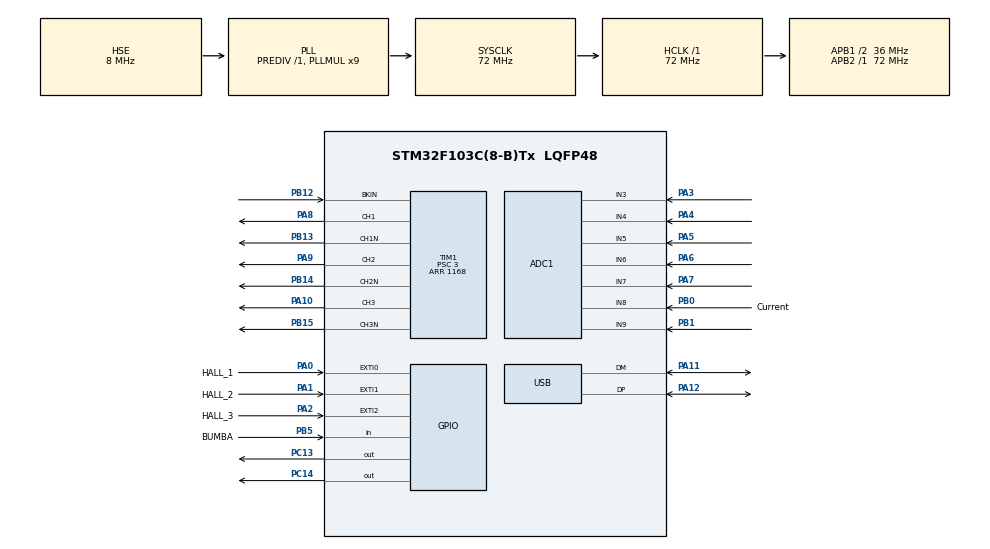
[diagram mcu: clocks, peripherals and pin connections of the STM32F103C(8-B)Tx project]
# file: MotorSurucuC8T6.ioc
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ADC1.Channel-0\#ChannelRegularConversion=ADC_CHANNEL_5
ADC1.Channel-1\#ChannelRegularConversion=ADC_CHANNEL_8
ADC1.Channel-2\#ChannelRegularConversion=ADC_CHANNEL_4
ADC1.Channel-3\#ChannelRegularConversion=ADC_CHANNEL_6
ADC1.Channel-4\#ChannelRegularConversion=ADC_CHANNEL_7
ADC1.Channel-5\#ChannelRegularConversion=ADC_CHANNEL_9
ADC1.Channel-6\#ChannelRegularConversion=ADC_CHANNEL_3
ADC1.ContinuousConvMode=ENABLE
ADC1.NbrOfConversion=7
ADC1.NbrOfConversionFlag=1
ADC1.Rank-0\#ChannelRegularConversion=1
ADC1.Rank-1\#ChannelRegularConversion=2
ADC1.Rank-2\#ChannelRegularConversion=3
ADC1.Rank-3\#ChannelRegularConversion=4
ADC1.Rank-4\#ChannelRegularConversion=5
ADC1.Rank-5\#ChannelRegularConversion=6
ADC1.Rank-6\#ChannelRegularConversion=7
ADC1.SamplingTime-0\#ChannelRegularConversion=ADC_SAMPLETIME_55CYCLES_5
ADC1.SamplingTime-1\#ChannelRegularConversion=ADC_SAMPLETIME_55CYCLES_5
ADC1.SamplingTime-2\#ChannelRegularConversion=ADC_SAMPLETIME_55CYCLES_5
ADC1.SamplingTime-3\#ChannelRegularConversion=ADC_SAMPLETIME_55CYCLES_5
ADC1.SamplingTime-4\#ChannelRegularConversion=ADC_SAMPLETIME_55CYCLES_5
ADC1.SamplingTime-5\#ChannelRegularConversion=ADC_SAMPLETIME_55CYCLES_5
ADC1.SamplingTime-6\#ChannelRegularConversion=ADC_SAMPLETIME_55CYCLES_5
ADC1.master=1
Dma.ADC1.0.Direction=DMA_PERIPH_TO_MEMORY
Dma.ADC1.0.Instance=DMA1_Channel1
Dma.ADC1.0.MemDataAlignment=DMA_MDATAALIGN_WORD
Dma.ADC1.0.MemInc=DMA_MINC_ENABLE
Dma.ADC1.0.Mode=DMA_CIRCULAR
Dma.ADC1.0.PeriphDataAlignment=DMA_PDATAALIGN_WORD
Dma.ADC1.0.PeriphInc=DMA_PINC_DISABLE
Dma.ADC1.0.Priority=DMA_PRIORITY_LOW
Dma.Request0=ADC1
Mcu.Family=STM32F1
Mcu.Name=STM32F103C(8-B)Tx
Mcu.Package=LQFP48
NVIC.DMA1_Channel1_IRQn=true\:0\:0\:false\:false\:true\:false\:true\:true
NVIC.EXTI0_IRQn=true\:3\:0\:true\:false\:true\:true\:true\:true
NVIC.EXTI1_IRQn=true\:3\:0\:true\:false\:true\:true\:true\:true
NVIC.EXTI2_IRQn=true\:3\:0\:true\:false\:true\:true\:true\:true
NVIC.PriorityGroup=NVIC_PRIORITYGROUP_4
NVIC.TIM2_IRQn=true\:0\:0\:false\:false\:true\:true\:true\:true
NVIC.TIM3_IRQn=true\:0\:0\:false\:false\:true\:true\:true\:true
NVIC.TIM4_IRQn=true\:0\:0\:false\:false\:true\:true\:true\:true
NVIC.USB_LP_CAN1_RX0_IRQn=true\:0\:0\:false\:false\:true\:false\:true\:true
PA0-WKUP.GPIO_Label=HALL_1
PA0-WKUP.GPIO_ModeDefaultEXTI=GPIO_MODE_IT_RISING_FALLING
PA0-WKUP.Signal=GPXTI0
PA1.GPIO_Label=HALL_2
PA1.GPIO_ModeDefaultEXTI=GPIO_MODE_IT_RISING_FALLING
PA1.Signal=GPXTI1
PA10.Signal=S_TIM1_CH3
PA11.Mode=Device
PA11.Signal=USB_DM
PA12.Mode=Device
PA12.Signal=USB_DP
PA13.Mode=Serial_Wire
PA13.Signal=SYS_JTMS-SWDIO
PA14.Mode=Serial_Wire
PA14.Signal=SYS_JTCK-SWCLK
PA2.GPIO_Label=HALL_3
PA2.GPIO_ModeDefaultEXTI=GPIO_MODE_IT_RISING_FALLING
PA2.Signal=GPXTI2
PA3.Signal=ADCx_IN3
PA4.Signal=ADCx_IN4
PA5.Signal=ADCx_IN5
PA6.Signal=ADCx_IN6
PA7.Signal=ADCx_IN7
PA8.Signal=S_TIM1_CH1
PA9.Signal=S_TIM1_CH2
PB0.GPIO_Label=Current
PB0.Signal=ADCx_IN8
PB1.Signal=ADCx_IN9
PB12.Mode=Activate-Break-Input
PB12.Signal=TIM1_BKIN
PB13.Mode=PWM Generation1 CH1 CH1N
PB13.Signal=TIM1_CH1N
PB14.Mode=PWM Generation2 CH2 CH2N
PB14.Signal=TIM1_CH2N
PB15.Mode=PWM Generation3 CH3 CH3N
PB15.Signal=TIM1_CH3N
PB5.GPIO_Label=BUMBA
PB5.Signal=GPIO_Input
PC13-TAMPER-RTC.Signal=GPIO_Output
PC14-OSC32_IN.Signal=GPIO_Output
PD0-OSC_IN.Mode=HSE-External-Oscillator
PD0-OSC_IN.Signal=RCC_OSC_IN
PD1-OSC_OUT.Mode=HSE-External-Oscillator
PD1-OSC_OUT.Signal=RCC_OSC_OUT
ProjectManager.HeapSize=0x200
ProjectManager.StackSize=0x400
ProjectManager.TargetToolchain=Makefile
RCC.ADCPresc=RCC_ADCPCLK2_DIV6
RCC.AHBFreq_Value=72000000
RCC.APB1CLKDivider=RCC_HCLK_DIV2
RCC.APB1Freq_Value=36000000
RCC.APB1TimFreq_Value=72000000
RCC.APB2Freq_Value=72000000
RCC.APB2TimFreq_Value=72000000
RCC.HCLKFreq_Value=72000000
RCC.PLLMUL=RCC_PLL_MUL9
RCC.PLLSourceVirtual=RCC_PLLSOURCE_HSE
RCC.SYSCLKFreq_VALUE=72000000
RCC.SYSCLKSource=RCC_SYSCLKSOURCE_PLLCLK
RCC.USBFreq_Value=48000000
RCC.USBPrescaler=RCC_USBCLKSOURCE_PLL_DIV1_5
SH.ADCx_IN3.0=ADC1_IN3,IN3
SH.ADCx_IN4.0=ADC1_IN4,IN4
SH.ADCx_IN5.0=ADC1_IN5,IN5
SH.ADCx_IN6.0=ADC1_IN6,IN6
SH.ADCx_IN7.0=ADC1_IN7,IN7
SH.ADCx_IN8.0=ADC1_IN8,IN8
SH.ADCx_IN9.0=ADC1_IN9,IN9
SH.S_TIM1_CH1.0=TIM1_CH1,PWM Generation1 CH1 CH1N
SH.S_TIM1_CH2.0=TIM1_CH2,PWM Generation2 CH2 CH2N
SH.S_TIM1_CH3.0=TIM1_CH3,PWM Generation3 CH3 CH3N
TIM1.BreakState=TIM_BREAK_ENABLE
TIM1.Channel-PWM\ Generation1\ CH1\ CH1N=TIM_CHANNEL_1
TIM1.Channel-PWM\ Generation2\ CH2\ CH2N=TIM_CHANNEL_2
TIM1.Channel-PWM\ Generation3\ CH3\ CH3N=TIM_CHANNEL_3
TIM1.DeadTime=60
TIM1.Period=1168
TIM1.Prescaler=3
TIM2.Period=5000
TIM2.Prescaler=719
TIM3.AutoReloadPreload=TIM_AUTORELOAD_PRELOAD_ENABLE
TIM3.Period=250
TIM3.Prescaler=359
TIM4.Period=19999
TIM4.Prescaler=359
USB_DEVICE.CLASS_NAME_FS=CDC
USB_DEVICE.MANUFACTURER_STRING=Zeugma
USB_DEVICE.PRODUCT_STRING_CDC_FS=Motor Surucu
USB_DEVICE.USBD_SELF_POWERED=0
USB_DEVICE.VirtualMode=Cdc
USB_DEVICE.VirtualModeFS=Cdc_FS
VP_TIM1_VS_ClockSourceINT.Mode=Internal
VP_TIM2_VS_ClockSourceINT.Mode=Internal
VP_TIM3_VS_ClockSourceINT.Mode=Internal
VP_TIM4_VS_ClockSourceINT.Mode=Internal
VP_USB_DEVICE_VS_USB_DEVICE_CDC_FS.Mode=CDC_FS
board=custom

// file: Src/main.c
/* USER CODE BEGIN Header */
/**
 **************************
 * @file           : main.c
 * @brief          : Main program body
 **************************
 * @attention
 *
 * Copyright (c) 2024 STMicroelectronics.
 * All rights reserved.
 *
 * This software is licensed under terms that can be found in the LICENSE file
 * in the root directory of this software component.
 * If no LICENSE file comes with this software, it is provided AS-IS.
 *
 **************************
 */
/* USER CODE END Header */
#include "main.h"
#include "adc.h"
#include "dma.h"
#include "tim.h"
#include "usb_device.h"
#include "gpio.h"

/* USER CODE BEGIN Includes */
#include "stdbool.h"
#include "debug_monitor.h"
#include "first_step.h"
#include "rpm.h"
#include "steps.h"
#include "old_value_hall.h"
#include "bemf.h"

/* USER CODE END Includes */

/* USER CODE BEGIN PD */
#define voltageConversion_value 0.0396593777777778
#define currentConversionValue 0.00083008

#define ALPHA_SHIFT 4            // α = 1 / 2^ALPHA_SHIFT (örn: 3 → α = 1/8)
#define ALPHA (1 << ALPHA_SHIFT) // 2^ALPHA_SHIFT
/* USER CODE END PD */

void SystemClock_Config(void);

/* USER CODE BEGIN 0 */

volatile bool oldValue[3] = {0, 0, 0};
bool mode = 1;
volatile bool first_step_flag = 1;
volatile bool flagg = 1;
uint32_t adcBuffer[7] = {0};
volatile uint16_t speedInAdc = 0;
volatile uint16_t currentValue = 0;
volatile uint16_t filtered_current = 0;
bool run_status = false;
volatile bool hall_A = 0, hall_B = 0, hall_C = 0;
bool geri_vites = true;
volatile uint32_t step = 0;
volatile uint32_t pwm_value = 0;
volatile uint32_t pwm_value2 = 0;

uint32_t pedal_value_mapped = 0;
uint16_t min_pwm_limit = 130;
volatile uint16_t firstStepDelay = 200;
volatile uint32_t previousTime2 = 0;
volatile uint8_t oncekiDegerler[3];
uint32_t timeForRotorStopStatusMs = 0;
uint32_t timeForRotorStopStatusMsFlag = 0;

volatile uint32_t rpm_counter = 0;
volatile uint32_t rpm;
volatile uint16_t difference_two_coummutation_time = 1;
volatile uint16_t difference_two_coummutation_time_filtered = 1;

uint32_t previousTime3 = 0;

uint16_t minCurrent = 5000;
uint16_t maxCurrent = 0;
uint16_t temporary_current_value = 0;
uint16_t average = 0;
uint32_t tim3sayi = 0;
uint32_t new_ARR = 0;
uint8_t isStoppedTimers = 0;
volatile uint16_t saved_pwm_rpm[30] = {0};

uint32_t interval_of_runstatus = 0;

volatile uint32_t phase_A;
volatile uint32_t phase_B;
volatile uint32_t phase_C;

uint16_t target_rpm = 0;
uint16_t max_rpm_limit = 2000;
uint16_t max_current_limit = 2100;
uint16_t max_pwm_limit = 800; // Max value: 1168!!!

uint8_t flag12 = 0;
uint16_t battery_voltage = 0;
volatile uint16_t motor_voltage = 0;

uint32_t previousTime4 = 0;

uint16_t analyze_data_1[480] = {0};
uint16_t array_counter;

uint16_t rpm_analysis[1024] = {0};

uint16_t interval_of_steps[1024] = {0};

uint8_t step_atlandi = 0; // unused
uint16_t rpm_max_limit_flag = 1;
uint8_t backEMF_mode = 0;

uint8_t polarity_A = 0;
uint8_t polarity_B = 0;
uint8_t polarity_C = 0;

uint8_t polarity_A_old = 0;
uint8_t polarity_B_old = 0;
uint8_t polarity_C_old = 0;

uint16_t intersection_interval = 0;

uint16_t notr = 0;
uint8_t bemf_execute_flag = 1;

// VARIABLE END

long map(long x, long in_min, long in_max, long out_min, long out_max)
{
  return (x - in_min) * (out_max - out_min) / (in_max - in_min) + out_min;
}

// void HAL_TIM_PeriodElapsedCallback(TIM_HandleTypeDef *htim)
// {
//   rpm = rpm_counter * 25;
//   rpm_counter = 0;
// }

// GPIO INTERRUPT HAS BEEN REMOVED FROM HERE

uint16_t ema_filter0(uint16_t new_value)
{
  static uint16_t filtered_value0 = 0;

  if (filtered_value0 == 0)
    filtered_value0 = new_value;

  filtered_value0 = filtered_value0 + ((new_value - filtered_value0) >> ALPHA_SHIFT);

  return filtered_value0;
}

uint16_t ema_filter1(uint16_t new_value)
{
  static uint16_t filtered_value1 = 0;

  if (filtered_value1 == 0)
    filtered_value1 = new_value;

  filtered_value1 = filtered_value1 + ((new_value - filtered_value1) >> ALPHA_SHIFT);

  return filtered_value1;
}

uint16_t ema_filter2(uint16_t new_value)
{
  static uint16_t filtered_value2 = 0;

  if (filtered_value2 == 0)
    filtered_value2 = new_value;

  filtered_value2 = filtered_value2 + ((new_value - filtered_value2) >> ALPHA_SHIFT);

  return filtered_value2;
}

uint16_t ema_filter3(uint16_t new_value)
{
  static uint16_t filtered_value3 = 0;

  if (filtered_value3 == 0)
    filtered_value3 = new_value;

  filtered_value3 = filtered_value3 + ((new_value - filtered_value3) >> ALPHA_SHIFT);

  return filtered_value3;
}

uint16_t dizi[120] = {0};
uint16_t dizi_index = 0;
// Gecici olarak devre dışı
uint16_t filtreye_koy(uint16_t num)
{
  uint16_t toplam = 0;
  uint16_t average = 0;

  dizi[dizi_index++] = num;

  if (dizi_index == 120)
    dizi_index = 0;

  for (uint8_t i = 0; i < 120; i++)
  {
    toplam += dizi[i];
  }

  if (toplam > 120)
    average = toplam / 120;
  else
    return 0;

  return average;
}

void HAL_ADC_ConvCpltCallback(ADC_HandleTypeDef *hadc)
{ // ADC DMA LEMLERİ
  if (hadc->Instance == ADC1)
  {

    battery_voltage = adcBuffer[5] * 0.03843902;
    if ((GPIOA->IDR & GPIO_PIN_8) + (GPIOA->IDR & GPIO_PIN_9) + (GPIOA->IDR & GPIO_PIN_10) == 0)
    {
      // if ((GPIOB->IDR & GPIO_PIN_13) == 0 && (step == 3 || step == 6))
      // {
      //   phase_A = adcBuffer[3];
      //   notr = adcBuffer[6];
      //   if (phase_A > notr)
      //     polarity_A = 1;

      //   else
      //     polarity_A = 0;
      // }
      // if ((GPIOB->IDR & GPIO_PIN_14) == 0 && (step == 2 || step == 5))
      // {
      //   phase_B = adcBuffer[4];
      //   notr = adcBuffer[6];
      //   if (phase_B > notr)
      //     polarity_B = 1;

      //   else
      //     polarity_B = 0;
      // }
      // if ((GPIOB->IDR & GPIO_PIN_15) == 0 && (step == 1 || step == 4))
      // {
      //   phase_C = adcBuffer[2];
      //   notr = adcBuffer[6];
      //   if (phase_C > notr)
      //     polarity_C = 1;

      //   else
      //     polarity_C = 0;
      // }
    }

    // A
    phase_A = ema_filter1(adcBuffer[3]);
    notr = ema_filter0(adcBuffer[6]);
    if (phase_A > notr)
      polarity_A = 1;
    else
      polarity_A = 0;

    // B
    phase_B = ema_filter2(adcBuffer[4]);
    notr = ema_filter0(adcBuffer[6]);
    if (phase_B > notr)
      polarity_B = 1;
    else
      polarity_B = 0;

    // C
    phase_C = ema_filter3(adcBuffer[2]);
    notr = ema_filter0(adcBuffer[6]);
    if (phase_C > notr)
      polarity_C = 1;
    else
      polarity_C = 0;

    uint16_t average_phase = (uint16_t)((phase_A + phase_B + phase_C) / 3);
    // motor_voltage = filtreye_koy(average_phase);
    // motor_voltage = ema_filter(average_phase);
    motor_voltage = average_phase * 10;

    currentValue = adcBuffer[1];
    filtered_current = 4500 - currentValue;

    // TEMPORARY DEVELOPING LINES
    if (filtered_current <= 1600 && filtered_current >= 1300)
      temporary_current_value = map(filtered_current, 1300, 1600, 0, 4430);
    else if (filtered_current > 1600)
      temporary_current_value = 4430;
    else
      temporary_current_value = 1300;
    // END

    speedInAdc = adcBuffer[0];

    // target_rpm

    if ((currentValue <= 1500) && (pwm_value > 100))
    {
      pwm_value = pwm_value - 1;
      // LOG_VAR(pwm_value);
    }

    if (minCurrent > filtered_current)
      minCurrent = filtered_current;
    if (maxCurrent < filtered_current)
      maxCurrent = filtered_current;
    phaseControlBemf();
  }
}

/* USER CODE END 0 */

int main(void)
{

  /* USER CODE BEGIN 1 */
  oldValue[0] = 1;
  oldValue[1] = 0;
  oldValue[2] = 1;
  /* USER CODE END 1 */

  /* MCU Configuration--------------------------------------------------------*/

  /* Reset of all peripherals, Initializes the Flash interface and the Systick. */
  HAL_Init();

  /* Configure the system clock */
  SystemClock_Config();

  /* Initialize all configured peripherals */
  MX_GPIO_Init();
  MX_DMA_Init();
  MX_ADC1_Init();
  MX_TIM1_Init();
  MX_USB_DEVICE_Init();
  MX_TIM2_Init();
  MX_TIM3_Init();
  MX_TIM4_Init();
  /* USER CODE BEGIN 2 */
  HAL_ADC_Start_DMA(&hadc1, adcBuffer, 7);

  HAL_TIM_PWM_Start(&htim1, TIM_CHANNEL_1);
  HAL_TIMEx_PWMN_Start(&htim1, TIM_CHANNEL_1);
  HAL_TIM_PWM_Start(&htim1, TIM_CHANNEL_2);
  HAL_TIMEx_PWMN_Start(&htim1, TIM_CHANNEL_2);
  HAL_TIM_PWM_Start(&htim1, TIM_CHANNEL_3);
  HAL_TIMEx_PWMN_Start(&htim1, TIM_CHANNEL_3);

  HAL_TIM_Base_Start_IT(&htim2);
  __HAL_TIM_SET_COUNTER(&htim2, 0);
  HAL_TIM_Base_Start_IT(&htim3);
  __HAL_TIM_SET_COUNTER(&htim3, 0);
  HAL_TIM_Base_Start_IT(&htim4);
  __HAL_TIM_SET_COUNTER(&htim4, 0);

  HAL_Delay(100);
  TIM1->CCER = 0x0000;
  previousTime2 = HAL_GetTick();
  previousTime3 = HAL_GetTick();

  /* USER CODE END 2 */

  /* Infinite loop */
  /* USER CODE BEGIN WHILE */
  while (1)
  {

    hall_A = HAL_GPIO_ReadPin(GPIOA, GPIO_PIN_0);
    hall_B = HAL_GPIO_ReadPin(GPIOA, GPIO_PIN_1);
    hall_C = HAL_GPIO_ReadPin(GPIOA, GPIO_PIN_2);
    if (!run_status)
    {
      pwm_value = 10.50 * motor_voltage / battery_voltage;
    }

    // uint32_t filtreli_akim = filtreye_koy(filtered_current);
    average = 0;

    /* USER CODE END WHILE */

    /* USER CODE BEGIN 3 */
    if (HAL_GetTick() - previousTime3 > 20) // && rpm_max_limit_flag)
    {

      // LOG_VAR(phase_A);
      // LOG_VAR(phase_B);
      // LOG_VAR(phase_C);
      // LOG_VAR(motor_voltage);
      // LOG_VAR(rpm);
      // LOG_POST();
      // LOG_VAR(adcBuffer[6]);

      // // LOG_VAR(step);
      uint16_t k = difference_two_coummutation_time;
      uint16_t t = difference_two_coummutation_time_filtered;
      LOG_VAR(rpm);
      LOG_VAR(k);
      LOG_VAR(t);
      LOG_POST();
      previousTime3 = HAL_GetTick();
    }

    // LOG_VAR(rpm);

    // LOG_VAR(filtered_current);
    // LOG_VAR(pwm_value);

    // LOG_VAR(pedal_value_mapped);
    // LOG_VAR(temporary_current_value);

    // LOG_POST();
    if (HAL_GetTick() - previousTime2 > 1500 && run_status)
    {
      __HAL_TIM_SET_COMPARE(&htim1, TIM_CHANNEL_3, 0);
      __HAL_TIM_SET_COMPARE(&htim1, TIM_CHANNEL_2, 0);
      __HAL_TIM_SET_COMPARE(&htim1, TIM_CHANNEL_1, 0);
      TIM1->CCER = 0x0000;
      // rpm = get_rpm(-1);
      previousTime2 = HAL_GetTick();
    }

    // if (HAL_GetTick() - timeForRotorStopStatusMs > 500 && run_status)
    // {
    //   HAL_TIM_PWM_Start(&htim1, TIM_CHANNEL_1);
    //   HAL_TIMEx_PWMN_Start(&htim1, TIM_CHANNEL_1);
    //   HAL_TIM_PWM_Start(&htim1, TIM_CHANNEL_2);
    //   HAL_TIMEx_PWMN_Start(&htim1, TIM_CHANNEL_2);
    //   HAL_TIM_PWM_Start(&htim1, TIM_CHANNEL_3);
    //   HAL_TIMEx_PWMN_Start(&htim1, TIM_CHANNEL_3);
    // }

    if (speedInAdc >= 900) // Checked
    {
      // if (isStoppedTimers && 0)
      // {
      //   HAL_TIM_PWM_Start(&htim1, TIM_CHANNEL_1);
      //   HAL_TIMEx_PWMN_Start(&htim1, TIM_CHANNEL_1);
      //   HAL_TIM_PWM_Start(&htim1, TIM_CHANNEL_2);
      //   HAL_TIMEx_PWMN_Start(&htim1, TIM_CHANNEL_2);
      //   HAL_TIM_PWM_Start(&htim1, TIM_CHANNEL_3);
      //   HAL_TIMEx_PWMN_Start(&htim1, TIM_CHANNEL_3);
      //   isStoppedTimers = 0;
      // }

      timeForRotorStopStatusMsFlag = 1;
      mode = HAL_GPIO_ReadPin(GPIOB, GPIO_PIN_5); // Nitro mod

      if (mode == 0)
        target_rpm = map(speedInAdc, 700, 3600, 0, max_rpm_limit);
      else
        target_rpm = map(speedInAdc, 700, 3600, 0, max_rpm_limit);

      HAL_Delay(1); // Kaldırılabilir

      if (rpm > target_rpm) // if (filtered_current > pedal_value_mapped)
      {
        if (pwm_value > min_pwm_limit)
        {
          pwm_value -= 1;
        }
        else
        {
          pwm_value = min_pwm_limit;
        }
      }

      else
      {
        if (pwm_value < min_pwm_limit)
        {
          pwm_value = min_pwm_limit;
        }
        else if (pwm_value < max_pwm_limit)
        {
          pwm_value += 1;
        }
      }

      if (!run_status)
      {
        run_status = true;
        // geri_vites = HAL_GPIO_ReadPin(GPIOA, GPIO_PIN_3);
        hall_A = HAL_GPIO_ReadPin(GPIOA, GPIO_PIN_0);
        hall_B = HAL_GPIO_ReadPin(GPIOA, GPIO_PIN_1);
        hall_C = HAL_GPIO_ReadPin(GPIOA, GPIO_PIN_2);
        if (motor_voltage < 150)
        {
          pwm_value = min_pwm_limit;
          HAL_GPIO_EXTI_Callback(GPIO_PIN_2);
          // first_step(hall_A, hall_B, hall_C);
        }
      }
    }

    else if ((run_status) && (speedInAdc < 800))
    {
      // HAL_GPIO_WritePin(GPIOB, GPIO_PIN_13, 0);
      // HAL_GPIO_WritePin(GPIOB, GPIO_PIN_14, 0);
      // HAL_GPIO_WritePin(GPIOB, GPIO_PIN_15, 0);
      __HAL_TIM_SET_COMPARE(&htim1, TIM_CHANNEL_1, 0); // Mosfetleri kapatıyoruz
      __HAL_TIM_SET_COMPARE(&htim1, TIM_CHANNEL_2, 0);
      __HAL_TIM_SET_COMPARE(&htim1, TIM_CHANNEL_3, 0);
      TIM1->CCER = 0x0000;
      flagg = 1;
      // step = 0;
      first_step_flag = 1;

      // HAL_TIM_PWM_Stop(&htim1, TIM_CHANNEL_1);
      // HAL_TIMEx_PWMN_Stop(&htim1, TIM_CHANNEL_1);
      // HAL_TIM_PWM_Stop(&htim1, TIM_CHANNEL_2);
      // HAL_TIMEx_PWMN_Stop(&htim1, TIM_CHANNEL_2);
      // HAL_TIM_PWM_Stop(&htim1, TIM_CHANNEL_3);
      // HAL_TIMEx_PWMN_Stop(&htim1, TIM_CHANNEL_3);
      // isStoppedTimers = 1;
      if (timeForRotorStopStatusMsFlag)
      {
        timeForRotorStopStatusMs = HAL_GetTick();
        timeForRotorStopStatusMsFlag = 0;
      }
      run_status = false;
    }
  }

  hall_A = HAL_GPIO_ReadPin(GPIOA, HALL_1_Pin);
  hall_B = HAL_GPIO_ReadPin(GPIOA, HALL_2_Pin);
  hall_C = HAL_GPIO_ReadPin(GPIOA, HALL_3_Pin);
  /* USER CODE END 3 */
}

void SystemClock_Config(void)
{
  RCC_OscInitTypeDef RCC_OscInitStruct = {0};
  RCC_ClkInitTypeDef RCC_ClkInitStruct = {0};
  RCC_PeriphCLKInitTypeDef PeriphClkInit = {0};

  /** Initializes the RCC Oscillators according to the specified parameters
   * in the RCC_OscInitTypeDef structure.
   */
  RCC_OscInitStruct.OscillatorType = RCC_OSCILLATORTYPE_HSE;
  RCC_OscInitStruct.HSEState = RCC_HSE_ON;
  RCC_OscInitStruct.HSEPredivValue = RCC_HSE_PREDIV_DIV1;
  RCC_OscInitStruct.HSIState = RCC_HSI_ON;
  RCC_OscInitStruct.PLL.PLLState = RCC_PLL_ON;
  RCC_OscInitStruct.PLL.PLLSource = RCC_PLLSOURCE_HSE;
  RCC_OscInitStruct.PLL.PLLMUL = RCC_PLL_MUL9;
  if (HAL_RCC_OscConfig(&RCC_OscInitStruct) != HAL_OK)
  {
    Error_Handler();
  }

  /** Initializes the CPU, AHB and APB buses clocks
   */
  RCC_ClkInitStruct.ClockType = RCC_CLOCKTYPE_HCLK | RCC_CLOCKTYPE_SYSCLK | RCC_CLOCKTYPE_PCLK1 | RCC_CLOCKTYPE_PCLK2;
  RCC_ClkInitStruct.SYSCLKSource = RCC_SYSCLKSOURCE_PLLCLK;
  RCC_ClkInitStruct.AHBCLKDivider = RCC_SYSCLK_DIV1;
  RCC_ClkInitStruct.APB1CLKDivider = RCC_HCLK_DIV2;
  RCC_ClkInitStruct.APB2CLKDivider = RCC_HCLK_DIV1;

  if (HAL_RCC_ClockConfig(&RCC_ClkInitStruct, FLASH_LATENCY_2) != HAL_OK)
  {
    Error_Handler();
  }
  PeriphClkInit.PeriphClockSelection = RCC_PERIPHCLK_ADC | RCC_PERIPHCLK_USB;
  PeriphClkInit.AdcClockSelection = RCC_ADCPCLK2_DIV6;
  PeriphClkInit.UsbClockSelection = RCC_USBCLKSOURCE_PLL_DIV1_5;
  if (HAL_RCCEx_PeriphCLKConfig(&PeriphClkInit) != HAL_OK)
  {
    Error_Handler();
  }
}

void Error_Handler(void)
{
  __disable_irq();
  while (1)
  {
  }
}
